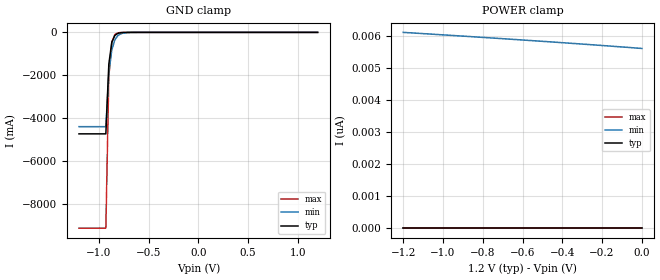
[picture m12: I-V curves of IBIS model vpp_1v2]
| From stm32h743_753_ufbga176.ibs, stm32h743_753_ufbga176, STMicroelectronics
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|   Model vpp_1v2
[Model]  vpp_1v2
Model_type Input
Polarity   Inverting
Vinl =   0.360000V
Vinh =   0.840000V
C_comp   1.373000pF   1.289500pF   1.479900pF
[Temperature Range]   25.000000   0.140000k   -40.000000
[Pullup Reference]   1.200000V   0.900000V   1.320000V
[Pulldown Reference]   0.0V   0.0V   0.0V
[POWER Clamp Reference]   1.200000V   0.900000V   1.320000V
[GND Clamp Reference]   0.0V   0.0V   0.0V
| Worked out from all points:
|   GND clamp passes 1 mA (typ) near -0.69 V on its own axis
[GND_clamp]
|Voltage   I(typ)   I(min)   I(max)
-1.2V     -4.721A    -4.387A    -9.109A
-930mV    -4.721A    -4.387A    -9.109A
-900mV    -1.471A    -1.891A    -2.049A
-870mV    -459.6mA   -816.2mA   -462.5mA
-840mV    -144.6mA   -353.2mA   -105.6mA
-810mV    -46.33mA   -153.6mA   -25.06mA
-780mV    -15.46mA   -67.41mA   -6.566mA
-690mV    -1.041mA   -6.692mA   -315.6uA
1.2V      0A         5.595nA    0A
[POWER_clamp]
|Voltage   I(typ)   I(min)   I(max)
-1.2V     0A         6.112nA    0A
-860mV    0A         5.979nA    0A
-520mV    0A         5.841nA    0A
-260mV    0A         5.729nA    0A
0V        0A         5.61nA     0A
